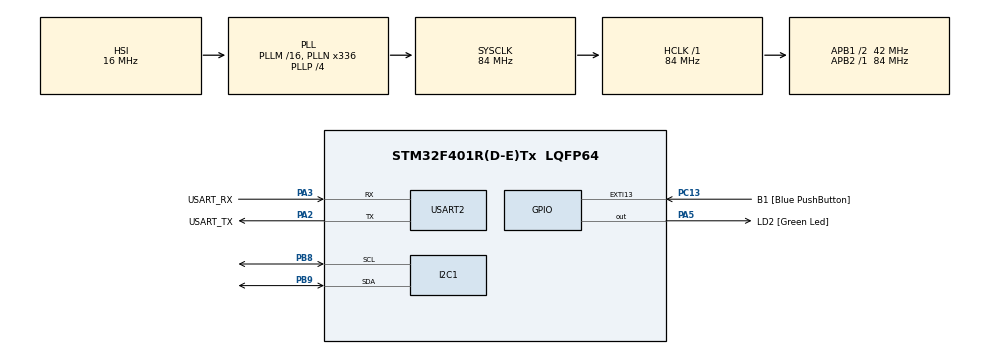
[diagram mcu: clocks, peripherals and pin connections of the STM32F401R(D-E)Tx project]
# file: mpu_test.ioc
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Mcu.Family=STM32F4
Mcu.Name=STM32F401R(D-E)Tx
Mcu.Package=LQFP64
NVIC.PriorityGroup=NVIC_PRIORITYGROUP_4
PA13.GPIO_Label=TMS
PA13.Mode=Trace_Asynchronous_SW
PA13.Signal=SYS_JTMS-SWDIO
PA14.GPIO_Label=TCK
PA14.Mode=Trace_Asynchronous_SW
PA14.Signal=SYS_JTCK-SWCLK
PA2.GPIO_Label=USART_TX
PA2.GPIO_Mode=GPIO_MODE_AF_PP
PA2.GPIO_PuPd=GPIO_NOPULL
PA2.GPIO_Speed=GPIO_SPEED_FREQ_LOW
PA2.Mode=Asynchronous
PA2.Signal=USART2_TX
PA3.GPIO_Label=USART_RX
PA3.GPIO_Mode=GPIO_MODE_AF_PP
PA3.GPIO_PuPd=GPIO_NOPULL
PA3.GPIO_Speed=GPIO_SPEED_FREQ_LOW
PA3.Mode=Asynchronous
PA3.Signal=USART2_RX
PA5.GPIO_Label=LD2 [Green Led]
PA5.GPIO_Mode=GPIO_MODE_OUTPUT_PP
PA5.GPIO_PuPd=GPIO_NOPULL
PA5.GPIO_Speed=GPIO_SPEED_FREQ_LOW
PA5.Signal=GPIO_Output
PB3.GPIO_Label=SWO
PB3.Mode=Trace_Asynchronous_SW
PB3.Signal=SYS_JTDO-SWO
PB8.Mode=I2C
PB8.Signal=I2C1_SCL
PB9.Mode=I2C
PB9.Signal=I2C1_SDA
PC13-ANTI_TAMP.GPIO_Label=B1 [Blue PushButton]
PC13-ANTI_TAMP.GPIO_ModeDefaultEXTI=GPIO_MODE_IT_FALLING
PC13-ANTI_TAMP.GPIO_PuPd=GPIO_NOPULL
PC13-ANTI_TAMP.Signal=GPXTI13
PC14-OSC32_IN.Mode=LSE-External-Oscillator
PC14-OSC32_IN.Signal=RCC_OSC32_IN
PC15-OSC32_OUT.Mode=LSE-External-Oscillator
PC15-OSC32_OUT.Signal=RCC_OSC32_OUT
PH0\ -\ OSC_IN.Mode=HSE-External-Clock-Source
PH0\ -\ OSC_IN.Signal=RCC_OSC_IN
PH1\ -\ OSC_OUT.Mode=HSE-External-Clock-Source
PH1\ -\ OSC_OUT.Signal=RCC_OSC_OUT
ProjectManager.HeapSize=0x200
ProjectManager.StackSize=0x400
ProjectManager.TargetToolchain=STM32CubeIDE
RCC.48MHZClocksFreq_Value=48000000
RCC.AHBFreq_Value=84000000
RCC.APB1CLKDivider=RCC_HCLK_DIV2
RCC.APB1Freq_Value=42000000
RCC.APB1TimFreq_Value=84000000
RCC.APB2Freq_Value=84000000
RCC.APB2TimFreq_Value=84000000
RCC.CortexFreq_Value=84000000
RCC.HCLKFreq_Value=84000000
RCC.HSE_VALUE=8000000
RCC.HSI_VALUE=16000000
RCC.PLLN=336
RCC.PLLP=RCC_PLLP_DIV4
RCC.PLLQ=7
RCC.SYSCLKFreq_VALUE=84000000
RCC.SYSCLKSource=RCC_SYSCLKSOURCE_PLLCLK
RCC.VCOOutputFreq_Value=336000000
USART2.VirtualMode=VM_ASYNC
board=NUCLEO-F401RE

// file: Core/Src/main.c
/* USER CODE BEGIN Header */
/**
  ******************************************************************************
  * @file           : main.c
  * @brief          : Main program body
  ******************************************************************************
  * @attention
  *
  * Copyright (c) 2026 STMicroelectronics.
  * All rights reserved.
  *
  * This software is licensed under terms that can be found in the LICENSE file
  * in the root directory of this software component.
  * If no LICENSE file comes with this software, it is provided AS-IS.
  *
  ******************************************************************************
  */
/* USER CODE END Header */
#include "main.h"

/* USER CODE BEGIN Includes */
#include <stdio.h>
#include <string.h>
#include <math.h>
#include "ekf_attitude.h"

/* USER CODE END Includes */

/* USER CODE BEGIN PD */
#define MPU_ADDR          (0x68 << 1)
#define GYRO_LSB_PER_DPS  131.0f   /* +/-250 dps (default). If you switch to 0x08 (+/-500) use 65.5f */
#define RAD2DEG           57.2957795f
#define DEG2RAD           0.0174533f
#define ALPHA             0.98f    /* gyro trust. Lower = trust accel more */
#define ALPHA_HI          0.998f   /* gyro trust while accel is disturbed (|a| != 1 g) */
#define ACC_TOL_G         0.03f    /* how far |a| may stray from 1 g before accel is distrusted */
#define LOOP_MS           5        /* 200 Hz */
#define PRINT_EVERY       4        /* print at 200/4 = 50 Hz */
#define CAL_SAMPLES       400      /* 400 x 5 ms = 2 s */
#define CAL_MAX_RANGE     400      /* raw gyro counts (~3 dps): more movement than this = board not still */
#define FAIL_RECOVER      20       /* consecutive read failures (~100 ms) before the bus is recovered */
/* I2C1 pins, used only to clock a stuck bus free. Check HAL_I2C_MspInit in stm32f4xx_hal_msp.c. */
#define I2C_SCL_PORT      GPIOB
#define I2C_SCL_PIN       GPIO_PIN_8
#define I2C_SDA_PORT      GPIOB
#define I2C_SDA_PIN       GPIO_PIN_9
/* USER CODE END PD */

I2C_HandleTypeDef hi2c1;

UART_HandleTypeDef huart2;

/* USER CODE BEGIN PV */
int32_t gx_bias = 0, gy_bias = 0, gz_bias = 0;
float roll_cf = 0.0f, pitch_cf = 0.0f;   /* filtered angles (deg) */
float g_ref = 1.0f;   /* measured |a| at rest in g (this board reads ~0.94, not 1.00) */
static ekf_t ekf;

/* Cycle counters for the cost table (DWT, 84 MHz). Press 't' in a serial terminal. */
typedef struct { uint32_t min, max, n; uint64_t sum; } cyc_t;
static cyc_t cyc_cf, cyc_pred, cyc_upd;

/* USER CODE END PV */

void SystemClock_Config(void);
static void MX_GPIO_Init(void);
static void MX_I2C1_Init(void);
static void MX_USART2_UART_Init(void);

/* USER CODE BEGIN 0 */
static void uart_print(const char *s)
{
    HAL_UART_Transmit(&huart2, (uint8_t*)s, strlen(s), 100);
}

static HAL_StatusTypeDef mpu_write(uint8_t reg, uint8_t val)
{
    return HAL_I2C_Mem_Write(&hi2c1, MPU_ADDR, reg, I2C_MEMADD_SIZE_8BIT, &val, 1, 100);
}

/* Wake + configure (needed again after a power loss or a bus recovery) */
static void mpu_configure(void)
{
    mpu_write(0x6B, 0x01);   /* PWR_MGMT_1: wake, clock = gyro X PLL (better than internal 8 MHz) */
    HAL_Delay(50);
    mpu_write(0x1A, 0x03);   /* CONFIG: DLPF ~42 Hz, gyro output rate = 1 kHz */
    mpu_write(0x19, 4);      /* SMPLRT_DIV: 1 kHz / (1+4) = 200 Hz */
    mpu_write(0x1B, 0x00);   /* GYRO_CONFIG: +/-250 dps  -> 131 LSB/dps */
    mpu_write(0x1C, 0x00);   /* ACCEL_CONFIG: +/-2 g     -> 16384 LSB/g */
}

/* 1 if the MPU answers WHO_AM_I with a plausible value (clones differ, so 0x68 is not required) */
static int mpu_present(void)
{
    uint8_t who = 0;
    HAL_StatusTypeDef st = HAL_I2C_Mem_Read(&hi2c1, MPU_ADDR, 0x75, I2C_MEMADD_SIZE_8BIT, &who, 1, 100);
    return (st == HAL_OK && who != 0x00 && who != 0xFF);
}

static uint32_t i2c_recoveries = 0;

/* Free a bus held by a slave that was reset mid-byte: clock SCL up to 9 times until SDA
   releases, send a STOP, reset the I2C peripheral and set it up again. */
static void i2c_bus_recover(void)
{
    GPIO_InitTypeDef g = {0};

    HAL_I2C_DeInit(&hi2c1);

    g.Mode  = GPIO_MODE_OUTPUT_OD;
    g.Pull  = GPIO_NOPULL;
    g.Speed = GPIO_SPEED_FREQ_LOW;
    g.Pin = I2C_SCL_PIN;  HAL_GPIO_Init(I2C_SCL_PORT, &g);
    g.Pin = I2C_SDA_PIN;  HAL_GPIO_Init(I2C_SDA_PORT, &g);
    HAL_GPIO_WritePin(I2C_SCL_PORT, I2C_SCL_PIN, GPIO_PIN_SET);
    HAL_GPIO_WritePin(I2C_SDA_PORT, I2C_SDA_PIN, GPIO_PIN_SET);
    HAL_Delay(1);

    for (int i = 0; i < 9 && HAL_GPIO_ReadPin(I2C_SDA_PORT, I2C_SDA_PIN) == GPIO_PIN_RESET; i++)
    {
        HAL_GPIO_WritePin(I2C_SCL_PORT, I2C_SCL_PIN, GPIO_PIN_RESET);  HAL_Delay(1);
        HAL_GPIO_WritePin(I2C_SCL_PORT, I2C_SCL_PIN, GPIO_PIN_SET);    HAL_Delay(1);
    }

    /* STOP: SDA low -> high while SCL is high */
    HAL_GPIO_WritePin(I2C_SDA_PORT, I2C_SDA_PIN, GPIO_PIN_RESET);  HAL_Delay(1);
    HAL_GPIO_WritePin(I2C_SCL_PORT, I2C_SCL_PIN, GPIO_PIN_SET);    HAL_Delay(1);
    HAL_GPIO_WritePin(I2C_SDA_PORT, I2C_SDA_PIN, GPIO_PIN_SET);    HAL_Delay(1);

    __HAL_RCC_I2C1_FORCE_RESET();
    __HAL_RCC_I2C1_RELEASE_RESET();
    MX_I2C1_Init();          /* HAL_I2C_MspInit puts the pins back on the I2C function */
    i2c_recoveries++;
}

/* Does not return until the MPU answers; recovers the bus between attempts, then configures it. */
static void mpu_bring_up(void)
{
    char m[56];
    for (;;)
    {
        if (mpu_present())
        {
            mpu_configure();
            return;
        }
        snprintf(m, sizeof(m), "MPU not responding, recovering I2C (#%lu)\r\n", (unsigned long)(i2c_recoveries + 1));
        uart_print(m);
        i2c_bus_recover();
        HAL_GPIO_TogglePin(LD2_GPIO_Port, LD2_Pin);
        HAL_Delay(200);
    }
}

static void dwt_init(void)
{
    CoreDebug->DEMCR |= CoreDebug_DEMCR_TRCENA_Msk;
    DWT->CYCCNT = 0;
    DWT->CTRL |= DWT_CTRL_CYCCNTENA_Msk;
}

/* Real elapsed time since the last call, in seconds (84 MHz core clock) */
static float dt_seconds(void)
{
    static uint32_t last = 0;
    uint32_t now = DWT->CYCCNT;
    float dt = (uint32_t)(now - last) / (float)SystemCoreClock;
    last = now;
    return dt;
}

/* Start the filter at the accel angle instead of 0 so it doesn't have to converge */
static void seed_filter(void)
{
    uint8_t b[14];
    if (HAL_I2C_Mem_Read(&hi2c1, MPU_ADDR, 0x3B, I2C_MEMADD_SIZE_8BIT, b, 14, 100) == HAL_OK)
    {
        float ax = (int16_t)((b[0] << 8) | b[1]);
        float ay = (int16_t)((b[2] << 8) | b[3]);
        float az = (int16_t)((b[4] << 8) | b[5]);
        roll_cf  = atan2f(ay, az) * RAD2DEG;
        pitch_cf = atan2f(-ax, sqrtf(ay * ay + az * az)) * RAD2DEG;
    }
}

/* Returns 1 on success. Returns 0, leaving the old biases untouched, if an I2C read fails,
   the board moves during the 2 s, or the measured gravity is implausible. */
int calibrate_gyro(void)
{
    int32_t sx = 0, sy = 0, sz = 0;
    int16_t xmin = 32767, xmax = -32768, ymin = 32767, ymax = -32768;
    float gsum = 0.0f;
    uint8_t cb[14];
    char m[80];
    int l;

    uart_print("Keep still...\r\n");
    HAL_Delay(1000);
    for (int i = 0; i < CAL_SAMPLES; i++)
    {
        if (HAL_I2C_Mem_Read(&hi2c1, MPU_ADDR, 0x3B, I2C_MEMADD_SIZE_8BIT, cb, 14, 100) != HAL_OK)
        {
            uart_print("Calibration failed: I2C read error\r\n");
            return 0;
        }
        int16_t rgx = (int16_t)((cb[8] << 8) | cb[9]);
        int16_t rgy = (int16_t)((cb[10] << 8) | cb[11]);
        int16_t rgz = (int16_t)((cb[12] << 8) | cb[13]);
        sx += rgx;  sy += rgy;  sz += rgz;
        if (rgx < xmin) xmin = rgx;
        if (rgx > xmax) xmax = rgx;
        if (rgy < ymin) ymin = rgy;
        if (rgy > ymax) ymax = rgy;
        float fx = (int16_t)((cb[0] << 8) | cb[1]);
        float fy = (int16_t)((cb[2] << 8) | cb[3]);
        float fz = (int16_t)((cb[4] << 8) | cb[5]);
        gsum += sqrtf(fx * fx + fy * fy + fz * fz);
        HAL_Delay(5);
    }

    if ((xmax - xmin) > CAL_MAX_RANGE || (ymax - ymin) > CAL_MAX_RANGE)
    {
        uart_print("Calibration rejected: board moved\r\n");
        return 0;
    }
    float g = gsum / CAL_SAMPLES / 16384.0f;
    if (g < 0.8f || g > 1.2f)
    {
        uart_print("Calibration rejected: |a| not near 1 g\r\n");
        return 0;
    }

    gx_bias = sx / CAL_SAMPLES;
    gy_bias = sy / CAL_SAMPLES;
    gz_bias = sz / CAL_SAMPLES;
    g_ref   = g;

    l = snprintf(m, sizeof(m), "Gyro bias raw: %ld %ld %ld  |a|=%ld mg\r\n",
                 (long)gx_bias, (long)gy_bias, (long)gz_bias, (long)(g_ref * 1000.0f));
    HAL_UART_Transmit(&huart2, (uint8_t*)m, l, 100);
    return 1;
}

/* Re-seed the EKF from the current complementary angles and gyro bias (rad, rad/s) */
static void ekf_reset(void)
{
    ekf_init(&ekf, roll_cf * DEG2RAD, pitch_cf * DEG2RAD,
             ((float)gx_bias / GYRO_LSB_PER_DPS) * DEG2RAD,
             ((float)gy_bias / GYRO_LSB_PER_DPS) * DEG2RAD);
}

static void cyc_reset(cyc_t *s) { s->min = 0xFFFFFFFFu; s->max = 0; s->n = 0; s->sum = 0; }

static void cyc_add(cyc_t *s, uint32_t c)
{
    if (c < s->min) s->min = c;
    if (c > s->max) s->max = c;
    s->sum += c;
    s->n++;
}

static void cyc_print(const char *name, const cyc_t *s)
{
    char m[96];
    if (!s->n) return;
    uint32_t mean = (uint32_t)(s->sum / s->n);
    int l = snprintf(m, sizeof(m),
                     "CYC %-9s mean %5lu  min %5lu  max %5lu cycles  (%lu.%02lu us, n=%lu)\r\n",
                     name, (unsigned long)mean, (unsigned long)s->min, (unsigned long)s->max,
                     (unsigned long)(mean / 84), (unsigned long)((mean % 84) * 100 / 84),
                     (unsigned long)s->n);
    HAL_UART_Transmit(&huart2, (uint8_t*)m, l, 100);
}

static void cyc_reset_all(void) { cyc_reset(&cyc_cf); cyc_reset(&cyc_pred); cyc_reset(&cyc_upd); }

/* USER CODE END 0 */

int main(void)
{

  /* MCU Configuration--------------------------------------------------------*/

  /* Reset of all peripherals, Initializes the Flash interface and the Systick. */
  HAL_Init();

  /* Configure the system clock */
  SystemClock_Config();

  /* Initialize all configured peripherals */
  MX_GPIO_Init();
  MX_I2C1_Init();
  MX_USART2_UART_Init();
  /* USER CODE BEGIN 2 */
  char msg[64];
  int len;
  uint8_t who = 0;
  HAL_StatusTypeDef st;

  len = snprintf(msg, sizeof(msg), "\r\nI2C scan start\r\n");
  HAL_UART_Transmit(&huart2, (uint8_t*)msg, len, 100);

  for (uint8_t addr = 1; addr < 128; addr++)
  {
      if (HAL_I2C_IsDeviceReady(&hi2c1, addr << 1, 2, 10) == HAL_OK)
      {
          len = snprintf(msg, sizeof(msg), "Found device at 0x%02X\r\n", addr);
          HAL_UART_Transmit(&huart2, (uint8_t*)msg, len, 100);
      }
  }

  len = snprintf(msg, sizeof(msg), "Scan done\r\n");
  HAL_UART_Transmit(&huart2, (uint8_t*)msg, len, 100);

  st = HAL_I2C_Mem_Read(&hi2c1, MPU_ADDR, 0x75, I2C_MEMADD_SIZE_8BIT, &who, 1, 100);
  len = snprintf(msg, sizeof(msg), "WHO_AM_I status=%d value=0x%02X\r\n", st, who);
  HAL_UART_Transmit(&huart2, (uint8_t*)msg, len, 100);

  mpu_bring_up();          /* waits for the MPU, recovers the bus if needed, configures it */
  while (!calibrate_gyro())
  {
      uart_print("Retrying calibration...\r\n");
      mpu_bring_up();
  }

  dwt_init();
  seed_filter();
  ekf_reset();
  dt_seconds();
  cyc_reset_all();

  uint32_t next_tick = HAL_GetTick();
  uint8_t  print_cnt = 0;
  uint32_t fail_streak = 0;

  /* USER CODE END 2 */

  /* Infinite loop */
  while (1)
  {

    /* USER CODE BEGIN 3 */
	  next_tick += LOOP_MS;

	  uint8_t rx;
	  if (HAL_UART_Receive(&huart2, &rx, 1, 0) == HAL_OK)
	  {
	      if (rx == 'c')
	      {
	          if (calibrate_gyro())
	          {
	              seed_filter();
	              ekf_reset();
	          }
	          dt_seconds();
	          cyc_reset_all();
	          next_tick = HAL_GetTick() + LOOP_MS;
	      }
	      else if (rx == 't')
	      {
	          cyc_print("compl", &cyc_cf);
	          cyc_print("ekf_pred", &cyc_pred);
	          cyc_print("ekf_upd", &cyc_upd);
	          cyc_reset_all();
	          next_tick = HAL_GetTick() + LOOP_MS;
	      }
	  }

	  uint8_t buf[14];
	  char line[100];

	  if (HAL_I2C_Mem_Read(&hi2c1, MPU_ADDR, 0x3B, I2C_MEMADD_SIZE_8BIT, buf, 14, 100) == HAL_OK)
	  {
		  float dt = dt_seconds();
		  if (dt > 0.05f) dt = LOOP_MS * 0.001f;   /* gap after a dropout: do not integrate it */
		  fail_streak = 0;

		  int16_t ax = (int16_t)((buf[0] << 8) | buf[1]);
		  int16_t ay = (int16_t)((buf[2] << 8) | buf[3]);
		  int16_t az = (int16_t)((buf[4] << 8) | buf[5]);
		  int16_t gx = (int16_t)((buf[8] << 8) | buf[9]);
		  int16_t gy = (int16_t)((buf[10] << 8) | buf[11]);
		  int16_t gz = (int16_t)((buf[12] << 8) | buf[13]);

		  uint32_t t0 = DWT->CYCCNT;
		  /* Gyro rates in deg/s (bias removed) */
		  float gx_dps = (gx - gx_bias) / GYRO_LSB_PER_DPS;
		  float gy_dps = (gy - gy_bias) / GYRO_LSB_PER_DPS;

		  /* Accel-only angles */
		  float roll_acc  = atan2f((float)ay, (float)az) * RAD2DEG;
		  float pitch_acc = atan2f(-(float)ax, sqrtf((float)ay*ay + (float)az*az)) * RAD2DEG;

		  /* Complementary filter with adaptive alpha:
		     if total accel is not ~1 g, the accel angle is unreliable, so trust the gyro */
		  float amag = sqrtf((float)ax*ax + (float)ay*ay + (float)az*az) / (16384.0f * g_ref);
		  float a = (fabsf(amag - 1.0f) > ACC_TOL_G) ? ALPHA_HI : ALPHA;
		  roll_cf  = a * (roll_cf  + gx_dps * dt) + (1.0f - a) * roll_acc;
		  pitch_cf = a * (pitch_cf + gy_dps * dt) + (1.0f - a) * pitch_acc;
		  uint32_t t1 = DWT->CYCCNT;
		  cyc_add(&cyc_cf, t1 - t0);

		  /* EKF: same sample, same dt.
		     x and y rates go in with the bias NOT removed (the EKF estimates it);
		     z rate has its startup bias removed (no bias state for yaw rate). */
		  float gx_rs = ((float)gx / GYRO_LSB_PER_DPS) * DEG2RAD;
		  float gy_rs = ((float)gy / GYRO_LSB_PER_DPS) * DEG2RAD;
		  float gz_rs = ((float)(gz - gz_bias) / GYRO_LSB_PER_DPS) * DEG2RAD;
		  uint32_t t2 = DWT->CYCCNT;
		  ekf_predict(&ekf, gx_rs, gy_rs, gz_rs, dt);
		  uint32_t t3 = DWT->CYCCNT;
		  ekf_update(&ekf, (float)ax / (16384.0f * g_ref), (float)ay / (16384.0f * g_ref), (float)az / (16384.0f * g_ref));
		  uint32_t t4 = DWT->CYCCNT;
		  cyc_add(&cyc_pred, t3 - t2);
		  cyc_add(&cyc_upd, t4 - t3);
		  float roll_ekf  = ekf.x[0] * RAD2DEG;
		  float pitch_ekf = ekf.x[1] * RAD2DEG;

		  if (++print_cnt >= PRINT_EVERY)
		  {
		      print_cnt = 0;
		      /* CSV: roll_acc, roll_cf, pitch_acc, pitch_cf, roll_ekf, pitch_ekf (centi-deg), amag (milli-g, normalised) */
		      int n = snprintf(line, sizeof(line), "%ld,%ld,%ld,%ld,%ld,%ld,%ld\r\n",
		                       (long)(roll_acc * 100),  (long)(roll_cf * 100),
		                       (long)(pitch_acc * 100), (long)(pitch_cf * 100),
		                       (long)(roll_ekf * 100),  (long)(pitch_ekf * 100),
		                       (long)(amag * 1000.0f));
		      HAL_UART_Transmit(&huart2, (uint8_t*)line, n, 20);
		  }
	  }
	  else
	  {
	      if (++fail_streak == 1) uart_print("read fail\r\n");
	      if (fail_streak >= FAIL_RECOVER)
	      {
	          uart_print("I2C stuck, recovering...\r\n");
	          mpu_bring_up();      /* recover the bus, wait for the MPU, reconfigure it */
	          seed_filter();       /* restart both filters from the accelerometer */
	          ekf_reset();
	          dt_seconds();
	          cyc_reset_all();
	          fail_streak = 0;
	          next_tick = HAL_GetTick() + LOOP_MS;
	          uart_print("Recovered\r\n");
	      }
	  }

	  /* Hold a fixed 200 Hz loop */
	  while ((int32_t)(HAL_GetTick() - next_tick) < 0) {}
  }
  /* USER CODE END 3 */
}

void SystemClock_Config(void)
{
  RCC_OscInitTypeDef RCC_OscInitStruct = {0};
  RCC_ClkInitTypeDef RCC_ClkInitStruct = {0};

  /** Configure the main internal regulator output voltage
  */
  __HAL_RCC_PWR_CLK_ENABLE();
  __HAL_PWR_VOLTAGESCALING_CONFIG(PWR_REGULATOR_VOLTAGE_SCALE2);

  /** Initializes the RCC Oscillators according to the specified parameters
  * in the RCC_OscInitTypeDef structure.
  */
  RCC_OscInitStruct.OscillatorType = RCC_OSCILLATORTYPE_HSI;
  RCC_OscInitStruct.HSIState = RCC_HSI_ON;
  RCC_OscInitStruct.HSICalibrationValue = RCC_HSICALIBRATION_DEFAULT;
  RCC_OscInitStruct.PLL.PLLState = RCC_PLL_ON;
  RCC_OscInitStruct.PLL.PLLSource = RCC_PLLSOURCE_HSI;
  RCC_OscInitStruct.PLL.PLLM = 16;
  RCC_OscInitStruct.PLL.PLLN = 336;
  RCC_OscInitStruct.PLL.PLLP = RCC_PLLP_DIV4;
  RCC_OscInitStruct.PLL.PLLQ = 7;
  if (HAL_RCC_OscConfig(&RCC_OscInitStruct) != HAL_OK)
  {
    Error_Handler();
  }

  /** Initializes the CPU, AHB and APB buses clocks
  */
  RCC_ClkInitStruct.ClockType = RCC_CLOCKTYPE_HCLK|RCC_CLOCKTYPE_SYSCLK
                              |RCC_CLOCKTYPE_PCLK1|RCC_CLOCKTYPE_PCLK2;
  RCC_ClkInitStruct.SYSCLKSource = RCC_SYSCLKSOURCE_PLLCLK;
  RCC_ClkInitStruct.AHBCLKDivider = RCC_SYSCLK_DIV1;
  RCC_ClkInitStruct.APB1CLKDivider = RCC_HCLK_DIV2;
  RCC_ClkInitStruct.APB2CLKDivider = RCC_HCLK_DIV1;

  if (HAL_RCC_ClockConfig(&RCC_ClkInitStruct, FLASH_LATENCY_2) != HAL_OK)
  {
    Error_Handler();
  }
}

static void MX_I2C1_Init(void)
{

  hi2c1.Instance = I2C1;
  hi2c1.Init.ClockSpeed = 100000;
  hi2c1.Init.DutyCycle = I2C_DUTYCYCLE_2;
  hi2c1.Init.OwnAddress1 = 0;
  hi2c1.Init.AddressingMode = I2C_ADDRESSINGMODE_7BIT;
  hi2c1.Init.DualAddressMode = I2C_DUALADDRESS_DISABLE;
  hi2c1.Init.OwnAddress2 = 0;
  hi2c1.Init.GeneralCallMode = I2C_GENERALCALL_DISABLE;
  hi2c1.Init.NoStretchMode = I2C_NOSTRETCH_DISABLE;
  if (HAL_I2C_Init(&hi2c1) != HAL_OK)
  {
    Error_Handler();
  }

}

static void MX_USART2_UART_Init(void)
{

  huart2.Instance = USART2;
  huart2.Init.BaudRate = 115200;
  huart2.Init.WordLength = UART_WORDLENGTH_8B;
  huart2.Init.StopBits = UART_STOPBITS_1;
  huart2.Init.Parity = UART_PARITY_NONE;
  huart2.Init.Mode = UART_MODE_TX_RX;
  huart2.Init.HwFlowCtl = UART_HWCONTROL_NONE;
  huart2.Init.OverSampling = UART_OVERSAMPLING_16;
  if (HAL_UART_Init(&huart2) != HAL_OK)
  {
    Error_Handler();
  }

}

static void MX_GPIO_Init(void)
{
  GPIO_InitTypeDef GPIO_InitStruct = {0};

  /* GPIO Ports Clock Enable */
  __HAL_RCC_GPIOC_CLK_ENABLE();
  __HAL_RCC_GPIOH_CLK_ENABLE();
  __HAL_RCC_GPIOA_CLK_ENABLE();
  __HAL_RCC_GPIOB_CLK_ENABLE();

  /*Configure GPIO pin Output Level */
  HAL_GPIO_WritePin(LD2_GPIO_Port, LD2_Pin, GPIO_PIN_RESET);

  /*Configure GPIO pin : B1_Pin */
  GPIO_InitStruct.Pin = B1_Pin;
  GPIO_InitStruct.Mode = GPIO_MODE_IT_FALLING;
  GPIO_InitStruct.Pull = GPIO_NOPULL;
  HAL_GPIO_Init(B1_GPIO_Port, &GPIO_InitStruct);

  /*Configure GPIO pin : LD2_Pin */
  GPIO_InitStruct.Pin = LD2_Pin;
  GPIO_InitStruct.Mode = GPIO_MODE_OUTPUT_PP;
  GPIO_InitStruct.Pull = GPIO_NOPULL;
  GPIO_InitStruct.Speed = GPIO_SPEED_FREQ_LOW;
  HAL_GPIO_Init(LD2_GPIO_Port, &GPIO_InitStruct);

}

void Error_Handler(void)
{
  __disable_irq();
  while (1)
  {
  }
}
